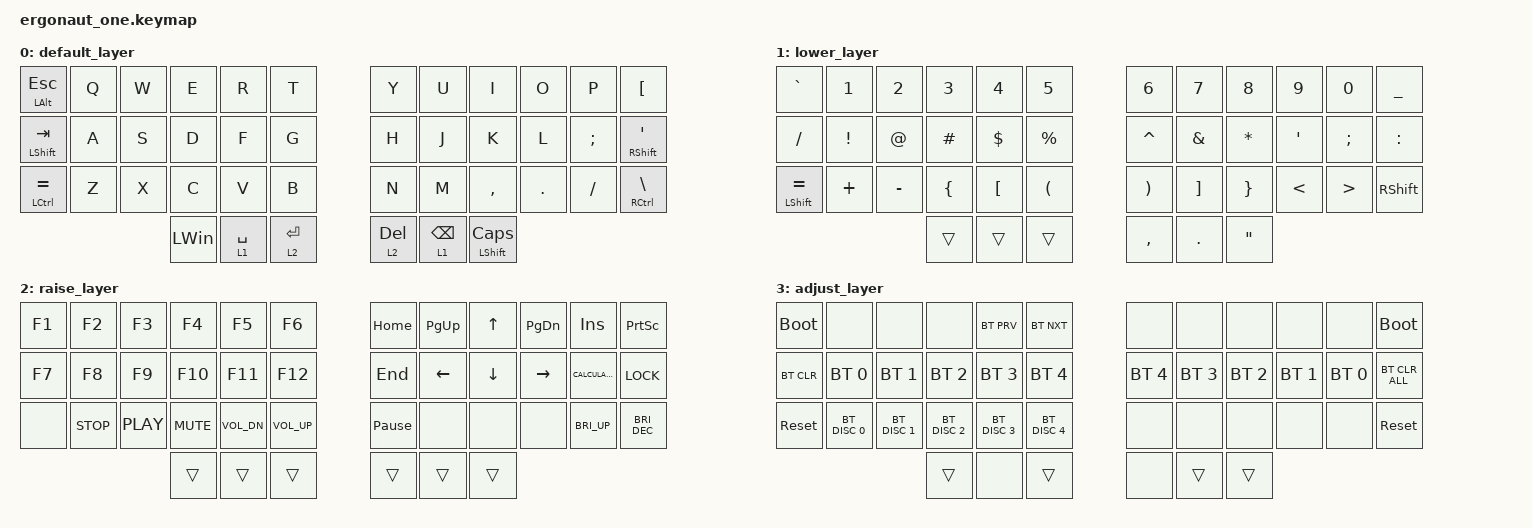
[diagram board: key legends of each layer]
#include <behaviors.dtsi>
#include <dt-bindings/zmk/bt.h>
#include <dt-bindings/zmk/keys.h>

#define DEF 0
#define LWR 1
#define RSE 2
#define ADJ 3

&lt { quick-tap-ms = <200>; };

&mt { quick-tap-ms = <200>; };

/ {
    conditional_layers {
        compatible = "zmk,conditional-layers";

        tri-layer {
            if-layers = <1 2>;
            then-layer = <3>;
        };
    };

    keymap {
        compatible = "zmk,keymap";

        default_layer {
            bindings = <
&mt LEFT_ALT ESC    &kp Q  &kp W  &kp E         &kp R        &kp T        &kp Y         &kp U       &kp I                    &kp O    &kp P     &kp LEFT_BRACKET
&mt LEFT_SHIFT TAB  &kp A  &kp S  &kp D         &kp F        &kp G        &kp H         &kp J       &kp K                    &kp L    &kp SEMI  &mt RIGHT_SHIFT SQT
&mt LCTRL EQUAL     &kp Z  &kp X  &kp C         &kp V        &kp B        &kp N         &kp M       &kp COMMA                &kp DOT  &kp FSLH  &mt RCTRL BSLH
                                  &kp LEFT_WIN  &lt 1 SPACE  &lt 2 ENTER  &lt 2 DELETE  &lt 1 BSPC  &mt LEFT_SHIFT CAPSLOCK
            >;
        };

        lower_layer {
            bindings = <
&kp GRAVE             &kp NUMBER_1  &kp NUMBER_2  &kp NUMBER_3    &kp NUMBER_4      &kp N5                &kp N6                 &kp N7             &kp N8           &kp N9         &kp N0         &kp UNDERSCORE
&kp SLASH             &kp EXCL      &kp AT        &kp HASH        &kp DLLR          &kp PRCNT             &kp CARET              &kp AMPS           &kp STAR         &kp SQT        &kp SEMICOLON  &kp COLON
&mt LEFT_SHIFT EQUAL  &kp PLUS      &kp MINUS     &kp LEFT_BRACE  &kp LEFT_BRACKET  &kp LEFT_PARENTHESIS  &kp RIGHT_PARENTHESIS  &kp RIGHT_BRACKET  &kp RIGHT_BRACE  &kp LESS_THAN  &kp GT         &kp RIGHT_SHIFT
                                                  &trans          &trans            &trans                &kp COMMA              &kp DOT            &kp DQT
            >;
        };

        raise_layer {
            bindings = <
&kp F1  &kp F2      &kp F3      &kp F4      &kp F5        &kp F6           &kp HOME         &kp PG_UP  &kp UP    &kp PAGE_DOWN  &kp INS           &kp PRINTSCREEN
&kp F7  &kp F8      &kp F9      &kp F10     &kp F11       &kp F12          &kp END          &kp LEFT   &kp DOWN  &kp RIGHT      &kp K_CALCULATOR  &kp K_LOCK
&none   &kp K_STOP  &kp C_PLAY  &kp K_MUTE  &kp C_VOL_DN  &kp C_VOLUME_UP  &kp PAUSE_BREAK  &none      &none     &none          &kp C_BRI_UP      &kp C_BRI_DEC
                                &trans      &trans        &trans           &trans           &trans     &trans
            >;
        };

        adjust_layer {
            bindings = <
&bootloader  &none          &none          &none          &bt BT_PRV     &bt BT_NXT     &none         &none         &none         &none         &none         &bootloader
&bt BT_CLR   &bt BT_SEL 0   &bt BT_SEL 1   &bt BT_SEL 2   &bt BT_SEL 3   &bt BT_SEL 4   &bt BT_SEL 4  &bt BT_SEL 3  &bt BT_SEL 2  &bt BT_SEL 1  &bt BT_SEL 0  &bt BT_CLR_ALL
&sys_reset   &bt BT_DISC 0  &bt BT_DISC 1  &bt BT_DISC 2  &bt BT_DISC 3  &bt BT_DISC 4  &none         &none         &none         &none         &none         &sys_reset
                                           &trans         &none          &trans         &none         &trans        &trans
            >;
        };
    };
};
